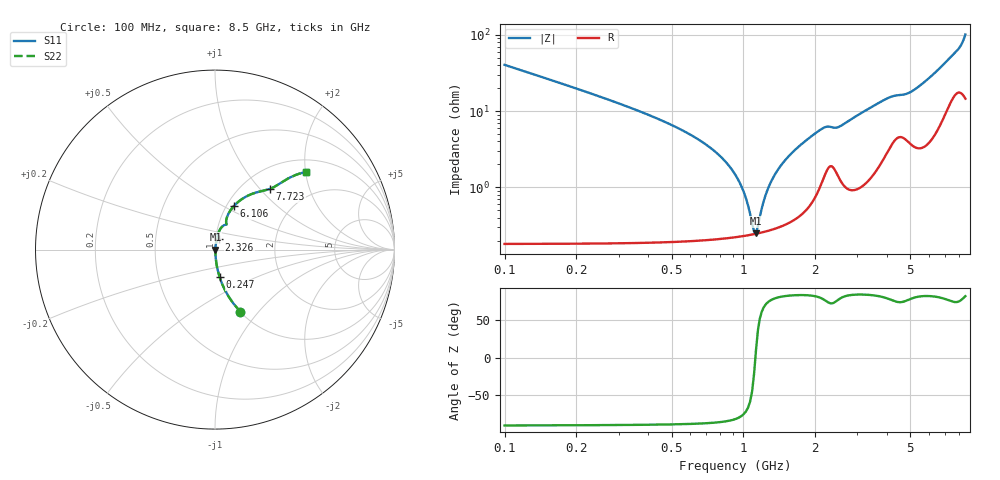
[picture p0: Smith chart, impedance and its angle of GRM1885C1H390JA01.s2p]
!Murata Part Number: GRM1885C1H390JA01
!These Parameters are Measured in Series Mode Connection
!Data Generated on Mar 30, 2021
!  o--ll--o
!Port1  Port2
!  o------o
!Operation Temp=25[degC], DC Bias Voltage=0[V]
!Freq. Start=100[MHz] Stop=9[GHz] 401[Steps]
# Hz S RI R 50
!Freq.(Hz) S11(Real) S11(Imag) S21(Real) S21(Imag) S12(Real) S12(Imag) S22(Real) S22(Imag)
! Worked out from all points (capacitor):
!   401 points, 100 MHz to 8.5 GHz, reference 50 ohm
!   read as one part in series: C = 39 pF near 142 MHz
!   lowest |Z| = 250 mohm at 1.129 GHz (marker M1)
!   series resonance near 1.122 GHz, so ESL is about 520 pH
!   S11 on the Smith chart (normalised r, x): 100 MHz: 1.00, -0.81; 247 MHz: 1.00, -0.31; 2.326 GHz: 1.04, +0.12; 6.106 GHz: 1.08, +0.57; 7.723 GHz: 1.33, +1.14; 8.5 GHz: 1.29, +2.01
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1e8  0.142 -0.3468  0.858 0.3468  0.858 0.3468  0.142 -0.3468
2.47e8  0.0259 -0.1531  0.9741 0.1531  0.9741 0.1531  0.0259 -0.1531
8.56e8  0.00255 -0.0202  0.9975 0.0202  0.9975 0.0202  0.00255 -0.0202
9.61e8  0.00237 -0.0115  0.9976 0.0115  0.9976 0.0115  0.00237 -0.0115
1.024e9  0.00236 -0.0068  0.9976 0.0068  0.9976 0.0068  0.00236 -0.0068
1.087e9  0.0024 -0.00237  0.9976 0.00237  0.9976 0.00237  0.0024 -0.00237
1.129e9  0.00245 0.000453  0.9976 -0.000453  0.9976 -0.000453  0.00245 0.000453
1.297e9  0.00285 0.011  0.9972 -0.011  0.9972 -0.011  0.00285 0.011
1.507e9  0.00377 0.023  0.9962 -0.023  0.9962 -0.023  0.00377 0.023
1.969e9  0.00912 0.0481  0.9909 -0.0481  0.9909 -0.0481  0.00912 0.0481
2.326e9  0.0219 0.0565  0.9781 -0.0565  0.9781 -0.0565  0.0219 0.0565
2.494e9  0.0171 0.0582  0.9829 -0.0582  0.9829 -0.0582  0.0171 0.0582
2.914e9  0.0157 0.0806  0.9843 -0.0806  0.9843 -0.0806  0.0157 0.0806
3.712e9  0.0341 0.1217  0.9659 -0.1217  0.9659 -0.1217  0.0341 0.1217
4.3e9  0.0601 0.139  0.9399 -0.139  0.9399 -0.139  0.0601 0.139
4.888e9  0.0623 0.1505  0.9377 -0.1505  0.9377 -0.1505  0.0623 0.1505
5.707e9  0.081 0.2106  0.919 -0.2106  0.919 -0.2106  0.081 0.2106
6.106e9  0.1061 0.2436  0.8939 -0.2436  0.8939 -0.2436  0.1061 0.2436
7.114e9  0.2195 0.315  0.7805 -0.315  0.7805 -0.315  0.2195 0.315
7.723e9  0.3061 0.3383  0.6939 -0.3383  0.6939 -0.3383  0.3061 0.3383
8.164e9  0.3816 0.3815  0.6184 -0.3815  0.6184 -0.3815  0.3816 0.3815
8.5e9  0.5064 0.4326  0.4936 -0.4326  0.4936 -0.4326  0.5064 0.4326
